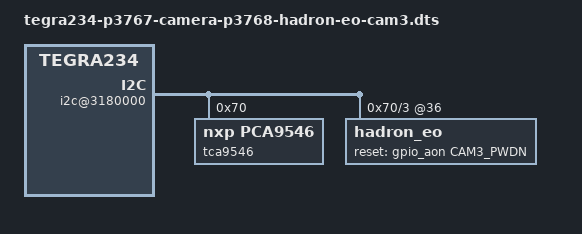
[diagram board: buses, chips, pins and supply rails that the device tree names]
// SPDX-License-Identifier: GPL-2.0-only
// SPDX-FileCopyrightText: Copyright (c) 2026, ARK Electronics.

/*
 * FLIR Hadron EO (OV64B40) on PAB CAM3 (J27), 2-lane:
 * CSI3_CLK with CSI3_D0/D1. PAB's camera connectors are 15-pin and
 * carry two lanes, so the Hadron Adapter needs a 22-to-15-pin FFC adapter
 * and the port is x2.
 * TCA9546 channel 3, reset CAM3_PWDN (PCC.03).
 */

/dts-v1/;
/plugin/;

#define CAM3_PWDN	TEGRA234_AON_GPIO(CC, 3)
#define CAMERA_I2C_MUX_BUS(x)	(0x1E + x)

#define HADRON_EO_PORT_INDEX	3
#define HADRON_EO_LANES		2
#define HADRON_EO_SINTERFACE	"serial_d"
#define HADRON_EO_LANE_POLARITY	"0"
#define HADRON_EO_SENSOR_SYSFS	"/sys/firmware/devicetree/base/bus@0/i2c@3180000/tca9546@70/i2c@3/hadron_eo@36"

#include <dt-bindings/tegra234-p3767-0000-common.h>
#include "tegra234-camera-hadron-eo.dtsi"

/ {
	overlay-name = "Camera FLIR Hadron EO CAM3 2-lane";
	jetson-header-name = "Jetson 22pin CSI Connector";
	compatible = JETSON_COMPATIBLE_P3768;

	fragment-hadron-eo-i2c@0 {
		target-path = "/";
		__overlay__ {
			bus@0 {
				i2c@3180000 {
					tca9546@70 {
						compatible = "nxp,pca9546";
						reg = <0x70>;
						i2c-parent = <&cam_i2c>;
						skip_mux_detect = "yes";
						status = "okay";
						force_bus_start = <CAMERA_I2C_MUX_BUS(0)>;
						i2c@0 {
							status = "okay";
							reg = <0>;
							i2c-mux,deselect-on-exit;
							#address-cells = <1>;
							#size-cells = <0>;
							/* the flash-time IMX219 default */
							ark_imx219_a@10 {
								status = "disabled";
							};
						};
						i2c@1 {
							status = "okay";
							reg = <1>;
							i2c-mux,deselect-on-exit;
							#address-cells = <1>;
							#size-cells = <0>;
							ark_imx219_b@10 {
								status = "disabled";
							};
						};
						i2c@2 {
							status = "okay";
							reg = <2>;
							i2c-mux,deselect-on-exit;
							#address-cells = <1>;
							#size-cells = <0>;
							ark_imx219_c@10 {
								status = "disabled";
							};
						};
						i2c@3 {
							status = "okay";
							reg = <3>;
							i2c-mux,deselect-on-exit;
							#address-cells = <1>;
							#size-cells = <0>;
							ark_imx219_d@10 {
								status = "disabled";
							};

							hadron_eo@36 {
								status = "okay";
								reset-gpios = <&gpio_aon CAM3_PWDN GPIO_ACTIVE_HIGH>;
#include "tegra234-camera-hadron-eo-sensor.dtsi"
							};
						};
					};
				};
			};
		};
	};
};
